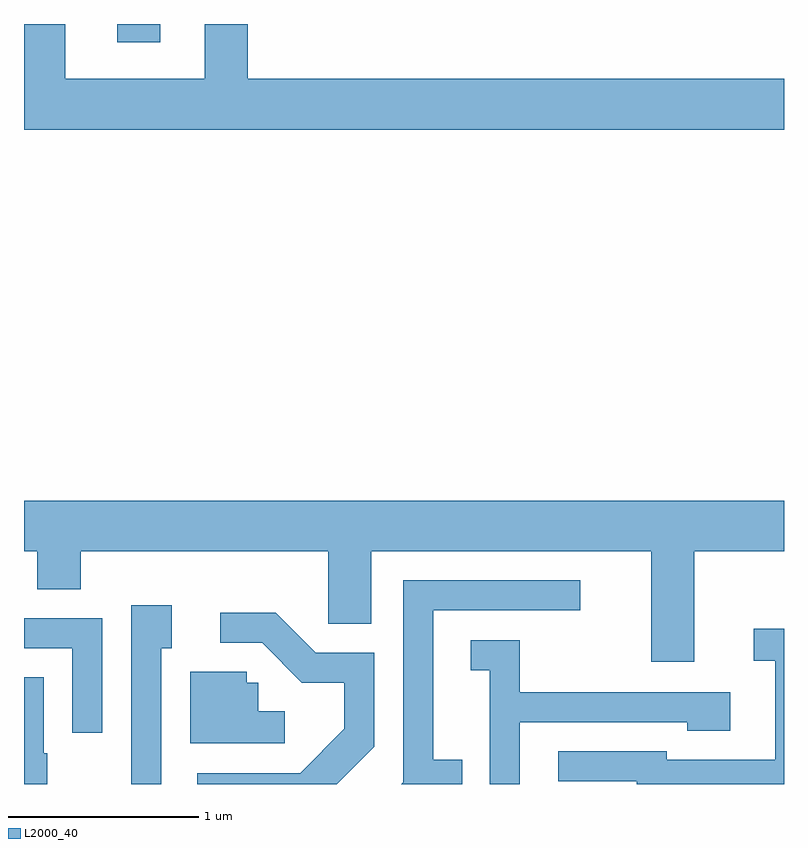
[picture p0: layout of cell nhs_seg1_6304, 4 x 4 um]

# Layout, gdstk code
import gdstk
lib = gdstk.Library(unit=1e-6, precision=1e-09)
def R(c, l, rs):  # rectangles x0, y0, x1, y1
    for r in rs: c.add(gdstk.rectangle(r[:2], r[2:], *l))
def P(c, l, *ps):  # polygons
    for p in ps: c.add(gdstk.Polygon(p, *l))
L2000_40 = (2000, 40)

nhs_seg1_6304 = lib.new_cell('nhs_seg1_6304')
R(nhs_seg1_6304, L2000_40, [(376.101,875.616,376.329,875.712)])
P(nhs_seg1_6304, L2000_40, [(379.611,875.424),(376.789,875.424),(376.789,875.712),(376.561,875.712),(376.561,875.424),(375.829,875.424),(375.829,875.712),(375.611,875.712),(375.611,875.156),(379.611,875.156)],
  [(379.139,872.936),(379.611,872.936),(379.611,873.204),(375.611,873.204),(375.611,872.936),(375.681,872.936),(375.681,872.736),(375.909,872.736),(375.909,872.936),(377.211,872.936),(377.211,872.556),(377.439,872.556),(377.439,872.936),(378.911,872.936),(378.911,872.356),(379.139,872.356)],
  [(377.918,871.839),(377.764,871.839),(377.764,872.626),(378.538,872.626),(378.538,872.784),(377.606,872.784),(377.606,871.722),(377.596,871.712),(377.918,871.712)],
  [(376.334,872.426),(376.389,872.426),(376.389,872.654),(376.176,872.654),(376.176,871.712),(376.334,871.712)],
  [(377.454,871.909),(377.454,872.404),(377.147,872.404),(376.937,872.614),(376.643,872.614),(376.643,872.456),(376.864,872.456),(377.074,872.246),(377.296,872.246),(377.296,872.002),(377.064,871.769),(376.523,871.769),(376.523,871.712),(377.258,871.712)],
  [(376.024,872.584),(375.611,872.584),(375.611,872.426),(375.866,872.426),(375.866,871.983),(376.024,871.983)],
  [(379.611,872.529),(379.453,872.529),(379.453,872.361),(379.566,872.361),(379.566,871.839),(378.994,871.839),(378.994,871.884),(378.423,871.884),(378.423,871.726),(378.836,871.726),(378.836,871.712),(379.611,871.712)],
  [(378.219,872.036),(379.101,872.036),(379.101,871.991),(379.329,871.991),(379.329,872.194),(378.219,872.194),(378.219,872.469),(377.963,872.469),(377.963,872.311),(378.061,872.311),(378.061,871.712),(378.219,871.712)],
  [(376.983,872.094),(376.844,872.094),(376.844,872.244),(376.784,872.244),(376.784,872.304),(376.486,872.304),(376.486,871.926),(376.983,871.926)],
  [(375.734,871.874),(375.714,871.874),(375.714,872.274),(375.611,872.274),(375.611,871.712),(375.734,871.712)])

lib.write_gds('nhs_seg1_6304.gds')
